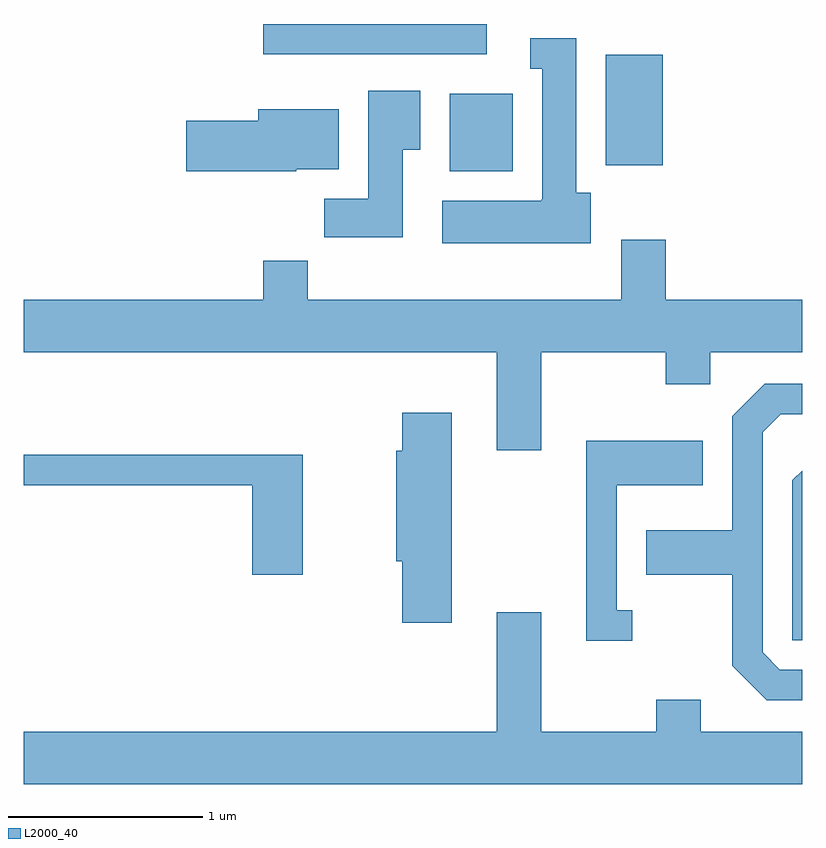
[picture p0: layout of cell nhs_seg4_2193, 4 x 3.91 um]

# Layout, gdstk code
import gdstk
lib = gdstk.Library(unit=1e-6, precision=1e-09)
def R(c, l, rs):  # rectangles x0, y0, x1, y1
    for r in rs: c.add(gdstk.rectangle(r[:2], r[2:], *l))
def P(c, l, *ps):  # polygons
    for p in ps: c.add(gdstk.Polygon(p, *l))
L2000_40 = (2000, 40)

nhs_seg4_2193 = lib.new_cell('nhs_seg4_2193')
R(nhs_seg4_2193, L2000_40, [(251.801,1291.226,252.124,1291.624), (252.601,1291.256,252.894,1291.824), (250.841,1291.826,251.989,1291.982)])
P(nhs_seg4_2193, L2000_40, [(252.524,1291.114),(252.449,1291.114),(252.449,1291.909),(252.213,1291.909),(252.213,1291.751),(252.276,1291.751),(252.276,1291.08),(252.27,1291.08),(252.27,1291.074),(251.761,1291.074),(251.761,1290.856),(252.524,1290.856)],
  [(251.559,1291.336),(251.649,1291.336),(251.649,1291.639),(251.381,1291.639),(251.381,1291.084),(251.156,1291.084),(251.156,1290.886),(251.559,1290.886)],
  [(251.01,1291.236),(251.229,1291.236),(251.229,1291.544),(250.816,1291.544),(250.816,1291.484),(250.446,1291.484),(250.446,1291.226),(251.01,1291.226)],
  [(251.069,1290.764),(250.841,1290.764),(250.841,1290.564),(249.611,1290.564),(249.611,1290.296),(252.041,1290.296),(252.041,1289.791),(252.269,1289.791),(252.269,1290.296),(252.911,1290.296),(252.911,1290.131),(253.139,1290.131),(253.139,1290.296),(253.611,1290.296),(253.611,1290.564),(252.909,1290.564),(252.909,1290.874),(252.681,1290.874),(252.681,1290.564),(251.069,1290.564)],
  [(253.611,1288.664),(253.497,1288.664),(253.409,1288.752),(253.409,1289.884),(253.502,1289.976),(253.611,1289.976),(253.611,1290.134),(253.419,1290.134),(253.251,1289.967),(253.251,1289.379),(252.811,1289.379),(252.811,1289.151),(253.251,1289.151),(253.251,1288.684),(253.429,1288.506),(253.611,1288.506)],
  [(251.809,1289.984),(251.556,1289.984),(251.556,1289.789),(251.526,1289.789),(251.526,1289.221),(251.556,1289.221),(251.556,1288.906),(251.809,1288.906)],
  [(252.738,1288.969),(252.659,1288.969),(252.659,1289.611),(253.099,1289.611),(253.099,1289.839),(252.501,1289.839),(252.501,1288.811),(252.738,1288.811)],
  [(251.044,1289.769),(249.611,1289.769),(249.611,1289.611),(250.786,1289.611),(250.786,1289.151),(251.044,1289.151)],
  [(253.611,1289.687),(253.561,1289.637),(253.561,1288.816),(253.611,1288.816)],
  [(253.611,1288.344),(253.089,1288.344),(253.089,1288.509),(252.861,1288.509),(252.861,1288.344),(252.269,1288.344),(252.269,1288.959),(252.041,1288.959),(252.041,1288.344),(249.611,1288.344),(249.611,1288.076),(253.611,1288.076)])

lib.write_gds('nhs_seg4_2193.gds')
